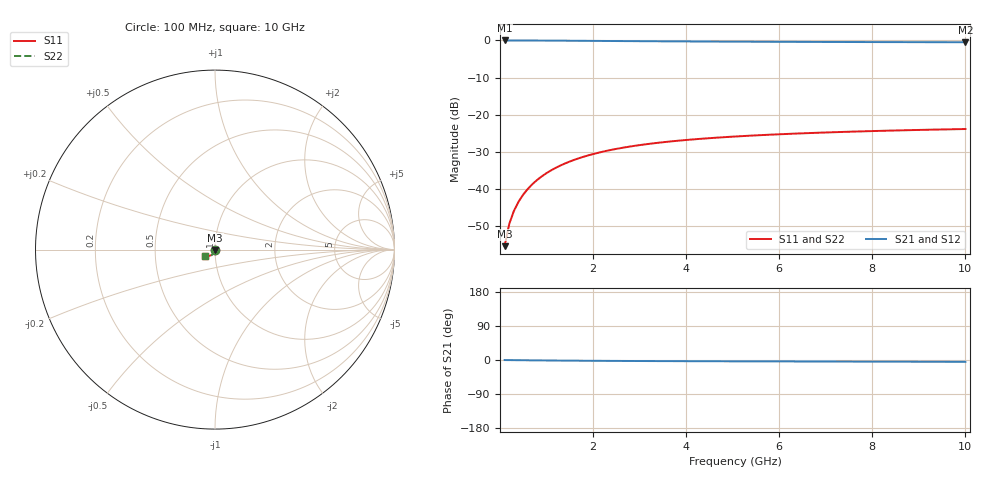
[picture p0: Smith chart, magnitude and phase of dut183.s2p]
! Touchstone file exported from HFSS 2024.1.0
!  File:  C:/UserFiles/LocalFiles/RDL_TSV_Batchsim/temp_TSV1_183_1779384286.aedt
!  Generated:  01:29:18 AM May 22, 2026
!  Design:  TSV1
!  Project:  temp_TSV1_183_1779384286
!  Setup:  Setup1
!  Solution:  Sweep
! Variables:
!  dtsv = 14.84um
!  hbump = 3um
!  htsv = 69.24um
!  lrdl = 252.1521522um
!  p = 40
!  p1 = 43.13um
!  t = 500um
!  trdl = 3um
!  wrdl = 24.89489489um
# GHz S MA R 50.000000
! Terminal data exported
! Port[1] = TSV22_T1
! Port[2] = TSV22_T2
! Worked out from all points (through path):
!   100 points, 100 MHz to 10 GHz, reference 50 ohm
!   highest |S21| = 0.00 dB at 100 MHz (marker M1); lowest = -0.5 dB at 10 GHz (marker M2)
!   lowest |S11| = -55.4 dB at 100 MHz (marker M3), VSWR 1.00, Z = 50 - j0.169 ohm
!   |S11| at or under -10 dB: start of sweep to end of sweep
!   |S22| runs from -55.4 to -23.9 dB; largest |S21 - S12| = 1.3e-14
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0.1  0.001695 -88.9  0.9999 -0.1  0.9999 -0.1  0.001695 -88.9
! Gamma 0 0 0 0
! Port Impedance 50 0 50 0
0.2  0.003383 -91.8  0.9997 -0.3  0.9997 -0.3  0.003383 -91.8
0.3  0.005065 -93.7  0.9995 -0.4  0.9995 -0.4  0.005065 -93.7
0.4  0.006737 -95.5  0.9992 -0.5  0.9992 -0.5  0.006737 -95.5
0.5  0.008394 -97.1  0.9988 -0.6  0.9988 -0.6  0.008394 -97.1
0.6  0.01003 -98.7  0.9983 -0.8  0.9983 -0.8  0.01003 -98.7
0.7  0.01165 -100.2  0.9977 -0.9  0.9977 -0.9  0.01165 -100.2
0.8  0.01324 -101.7  0.9971 -1.0  0.9971 -1.0  0.01324 -101.7
0.9  0.01479 -103.1  0.9964 -1.1  0.9964 -1.1  0.01479 -103.1
1.1  0.01781 -105.9  0.9949 -1.3  0.9949 -1.3  0.01781 -105.9
1.4  0.02206 -109.7  0.9923 -1.6  0.9923 -1.6  0.02206 -109.7
1.6  0.0247 -112.2  0.9905 -1.8  0.9905 -1.8  0.0247 -112.2
1.8  0.02717 -114.5  0.9886 -2.0  0.9886 -2.0  0.02717 -114.5
2.1  0.03059 -117.7  0.9857 -2.2  0.9857 -2.2  0.03059 -117.7
2.5  0.03462 -121.5  0.9819 -2.4  0.9819 -2.4  0.03462 -121.5
2.9  0.03812 -124.8  0.9784 -2.6  0.9784 -2.6  0.03812 -124.8
3.4  0.04186 -128.4  0.9743 -2.9  0.9743 -2.9  0.04186 -128.4
4.2  0.04673 -133.0  0.9685 -3.2  0.9685 -3.2  0.04673 -133.0
5.1  0.05103 -137.0  0.963 -3.5  0.963 -3.5  0.05103 -137.0
6.7  0.05672 -142.2  0.9556 -4.0  0.9556 -4.0  0.05672 -142.2
8.4  0.06107 -146.1  0.9498 -4.4  0.9498 -4.4  0.06107 -146.1
10  0.06412 -148.8  0.9458 -4.8  0.9458 -4.8  0.06412 -148.8
